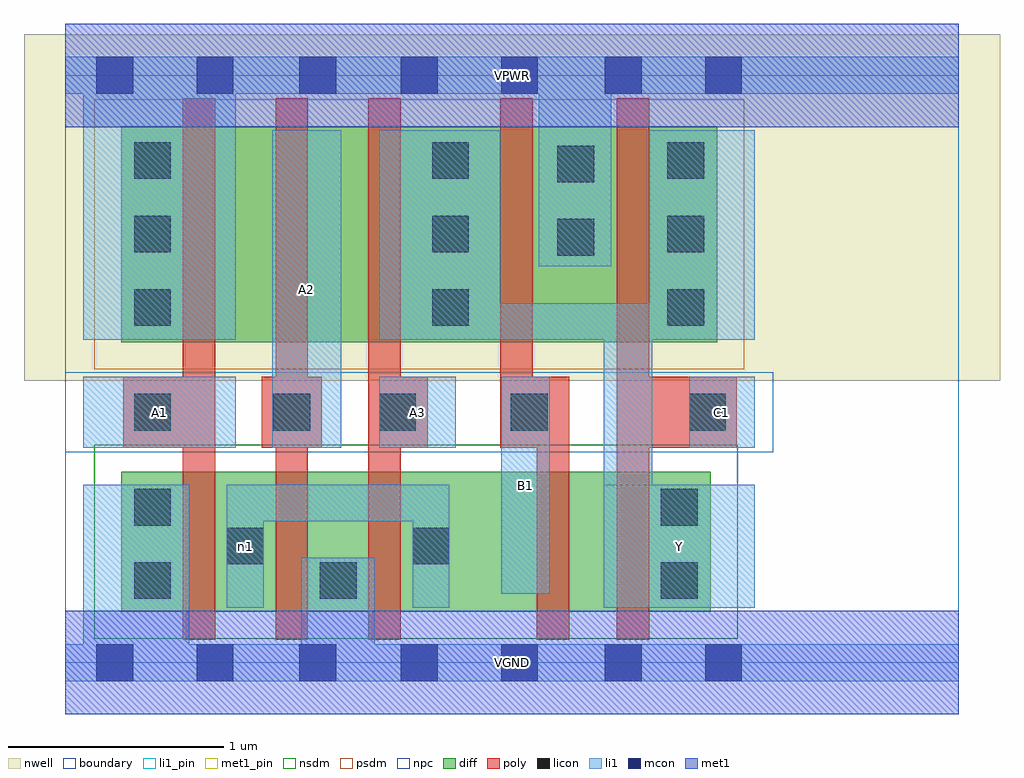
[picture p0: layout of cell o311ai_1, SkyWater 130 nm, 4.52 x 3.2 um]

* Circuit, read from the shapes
.subckt o311ai_1 A1 A2 A3 B1 C1 VGND VPWR Y n1
XM1 n1 A1 VGND VSUBS sky130_fd_pr__nfet_01v8 w=0.65 l=0.15
XM2 VGND A2 n1 VSUBS sky130_fd_pr__nfet_01v8 w=0.65 l=0.15
XM3 n1 A3 VGND VSUBS sky130_fd_pr__nfet_01v8 w=0.65 l=0.15
XM4 n2 B1 n1 VSUBS sky130_fd_pr__nfet_01v8 w=0.65 l=0.15
XM5 Y C1 n2 VSUBS sky130_fd_pr__nfet_01v8 w=0.65 l=0.15
XM6 n3 A1 VPWR n4 sky130_fd_pr__pfet_01v8 w=1 l=0.15
XM7 n5 A2 n3 n4 sky130_fd_pr__pfet_01v8 w=1 l=0.15
XM8 Y A3 n5 n4 sky130_fd_pr__pfet_01v8 w=1 l=0.15
XM9 VPWR B1 Y n4 sky130_fd_pr__pfet_01v8 w=1 l=0.15
XM10 Y C1 VPWR n4 sky130_fd_pr__pfet_01v8 w=1 l=0.15
.ends

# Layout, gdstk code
import gdstk
lib = gdstk.Library(unit=1e-6, precision=1e-09)
def R(c, l, rs):  # rectangles x0, y0, x1, y1
    for r in rs: c.add(gdstk.rectangle(r[:2], r[2:], *l))
def A(c, l, x, y, w, h, nx, ny, dx, dy):  # array of equal rectangles
    R(c, l, [(x+i*dx, y+j*dy, x+i*dx+w, y+j*dy+h) for i in range(nx) for j in range(ny)])
nwell = (64, 20)
diff = (65, 20)
poly = (66, 20)
licon = (66, 44)
li1_pin = (67, 16)
li1 = (67, 20)
mcon = (67, 44)
met1_pin = (68, 16)
met1 = (68, 20)
nsdm = (93, 44)
psdm = (94, 20)
npc = (95, 20)
boundary = (235, 4)

o311ai_1 = lib.new_cell('o311ai_1')
R(o311ai_1, nwell, [(-0.19,1.305,4.33,2.91), (0,1.305,4.14,2.91)])
R(o311ai_1, diff, [(0.26,0.235,2.99,0.885), (0.26,1.485,3.02,2.485)])
A(o311ai_1, poly, 0.545, 0.105, 0.15, 2.51, 3, 1, 0.43, 0)
R(o311ai_1, poly, [(2.185,0.105,2.335,1.325), (2.555,0.105,2.705,2.615), (0.27,0.995,0.695,1.325), (0.91,0.995,1.19,1.325), (1.405,0.995,1.68,1.325), (2.015,0.995,2.165,2.615), (2.015,0.995,2.335,1.325), (2.555,0.995,3.11,1.325)])
A(o311ai_1, licon, 0.32, 1.56, 0.17, 0.17, 1, 3, 0, 0.34)
A(o311ai_1, licon, 1.7, 1.56, 0.17, 0.17, 1, 3, 0, 0.34)
A(o311ai_1, licon, 2.79, 1.56, 0.17, 0.17, 1, 3, 0, 0.34)
R(o311ai_1, licon, [(0.32,0.295,0.49,0.465), (1.18,0.295,1.35,0.465), (2.76,0.295,2.93,0.465), (0.75,0.455,0.92,0.625), (1.61,0.455,1.78,0.625), (0.32,0.635,0.49,0.805), (2.76,0.635,2.93,0.805), (0.32,1.075,0.49,1.245), (0.965,1.075,1.135,1.245), (1.455,1.075,1.625,1.245), (2.065,1.075,2.235,1.245), (2.89,1.075,3.06,1.245), (2.28,1.885,2.45,2.055), (2.28,2.225,2.45,2.395)])
R(o311ai_1, li1_pin, [(2.495,0.255,3.195,0.825), (2.02,0.32,2.245,1.325), (0.085,0.995,0.79,1.325), (0.96,0.995,1.28,2.465), (1.455,0.995,1.81,1.325), (2.89,0.995,3.195,1.325)])
R(o311ai_1, li1, [(0,-0.085,4.14,0.085), (0.085,-0.085,0.575,0.825), (1.095,-0.085,1.435,0.485), (0.75,0.255,0.92,0.825), (1.61,0.255,1.78,0.825), (2.495,0.255,3.195,0.825), (2.495,0.255,2.72,1.665), (2.02,0.32,2.245,1.325), (0.75,0.655,1.78,0.825), (0.085,0.995,0.79,1.325), (0.96,0.995,1.28,2.465), (1.455,0.995,1.81,1.325), (2.89,0.995,3.195,1.325), (0.085,1.495,0.79,2.805), (1.455,1.495,2.015,2.465), (1.455,1.495,3.195,1.665), (2.705,1.495,3.195,2.465), (2.195,1.835,2.53,2.805), (0,2.635,4.14,2.805)])
R(o311ai_1, mcon, [(0.145,-0.085,0.315,0.085), (0.61,-0.085,0.78,0.085), (1.085,-0.085,1.255,0.085), (1.555,-0.085,1.725,0.085), (2.02,-0.085,2.19,0.085), (2.5,-0.085,2.67,0.085), (2.965,-0.085,3.135,0.085), (0.145,2.635,0.315,2.805), (0.61,2.635,0.78,2.805), (1.085,2.635,1.255,2.805), (1.555,2.635,1.725,2.805), (2.02,2.635,2.19,2.805), (2.5,2.635,2.67,2.805), (2.965,2.635,3.135,2.805)])
R(o311ai_1, met1_pin, [(0,-0.24,4.14,0.24), (0,2.48,4.14,2.96)])
R(o311ai_1, met1, [(0,-0.24,4.14,0.24), (0,2.48,4.14,2.96)])
R(o311ai_1, nsdm, [(0.135,0.11,3.115,1.01)])
R(o311ai_1, psdm, [(0.135,1.36,3.145,2.61)])
R(o311ai_1, npc, [(0,0.975,3.28,1.345)])
R(o311ai_1, boundary, [(0,0,4.14,2.72)])
o311ai_1.add(gdstk.Label('A1', (0.437,1.16), layer=67, texttype=5))
o311ai_1.add(gdstk.Label('A2', (1.12,1.73), layer=67, texttype=5))
o311ai_1.add(gdstk.Label('A3', (1.632,1.16), layer=67, texttype=5))
o311ai_1.add(gdstk.Label('B1', (2.132,0.822), layer=67, texttype=5))
o311ai_1.add(gdstk.Label('C1', (3.042,1.16), layer=67, texttype=5))
o311ai_1.add(gdstk.Label('Y', (2.845,0.54), layer=67, texttype=5))
o311ai_1.add(gdstk.Label('n1', (0.835,0.54), layer=67, texttype=5))
o311ai_1.add(gdstk.Label('VPWR', (2.07,2.72), layer=68, texttype=5))
o311ai_1.add(gdstk.Label('VGND', (2.07,0), layer=68, texttype=5))
o311ai_1.add(gdstk.Label('A1', (0.437,1.16), layer=67, texttype=16))
o311ai_1.add(gdstk.Label('A2', (1.12,1.73), layer=67, texttype=16))
o311ai_1.add(gdstk.Label('A3', (1.632,1.16), layer=67, texttype=16))
o311ai_1.add(gdstk.Label('B1', (2.132,0.822), layer=67, texttype=16))
o311ai_1.add(gdstk.Label('C1', (3.042,1.16), layer=67, texttype=16))
o311ai_1.add(gdstk.Label('Y', (2.845,0.54), layer=67, texttype=16))
o311ai_1.add(gdstk.Label('VPWR', (2.07,2.72), layer=68, texttype=16))
o311ai_1.add(gdstk.Label('VGND', (2.07,0), layer=68, texttype=16))

lib.write_gds('o311ai_1.gds')
